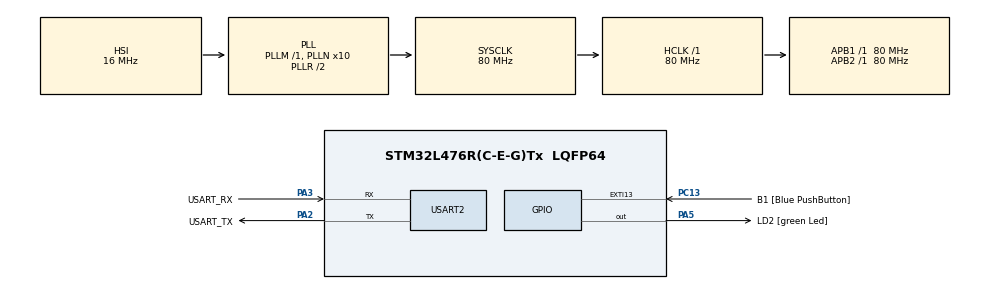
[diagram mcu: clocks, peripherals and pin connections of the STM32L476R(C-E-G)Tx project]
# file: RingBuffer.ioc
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Mcu.Family=STM32L4
Mcu.Name=STM32L476R(C-E-G)Tx
Mcu.Package=LQFP64
NVIC.PriorityGroup=NVIC_PRIORITYGROUP_4
NVIC.USART2_IRQn=true\:0\:0\:false\:false\:true\:true\:true\:true
PA13\ (JTMS-SWDIO).GPIO_Label=TMS
PA13\ (JTMS-SWDIO).Mode=Serial_Wire
PA13\ (JTMS-SWDIO).Signal=SYS_JTMS-SWDIO
PA14\ (JTCK-SWCLK).GPIO_Label=TCK
PA14\ (JTCK-SWCLK).Mode=Serial_Wire
PA14\ (JTCK-SWCLK).Signal=SYS_JTCK-SWCLK
PA2.GPIO_Label=USART_TX
PA2.GPIO_Mode=GPIO_MODE_AF_PP
PA2.GPIO_PuPd=GPIO_NOPULL
PA2.GPIO_Speed=GPIO_SPEED_FREQ_VERY_HIGH
PA2.Mode=Asynchronous
PA2.Signal=USART2_TX
PA3.GPIO_Label=USART_RX
PA3.GPIO_Mode=GPIO_MODE_AF_PP
PA3.GPIO_PuPd=GPIO_NOPULL
PA3.GPIO_Speed=GPIO_SPEED_FREQ_VERY_HIGH
PA3.Mode=Asynchronous
PA3.Signal=USART2_RX
PA5.GPIO_Label=LD2 [green Led]
PA5.GPIO_ModeDefaultOutputPP=GPIO_MODE_OUTPUT_PP
PA5.GPIO_PuPd=GPIO_NOPULL
PA5.GPIO_Speed=GPIO_SPEED_FREQ_LOW
PA5.Signal=GPIO_Output
PB3\ (JTDO-TRACESWO).GPIO_Label=SWO
PB3\ (JTDO-TRACESWO).Signal=SYS_JTDO-SWO
PC13.GPIO_Label=B1 [Blue PushButton]
PC13.GPIO_ModeDefaultEXTI=GPIO_MODE_IT_FALLING
PC13.GPIO_PuPd=GPIO_NOPULL
PC13.Signal=GPXTI13
PC14-OSC32_IN\ (PC14).Mode=LSE-External-Oscillator
PC14-OSC32_IN\ (PC14).Signal=RCC_OSC32_IN
PC15-OSC32_OUT\ (PC15).Mode=LSE-External-Oscillator
PC15-OSC32_OUT\ (PC15).Signal=RCC_OSC32_OUT
PH0-OSC_IN\ (PH0).Signal=RCC_OSC_IN
PH1-OSC_OUT\ (PH1).Signal=RCC_OSC_OUT
ProjectManager.HeapSize=0x200
ProjectManager.StackSize=0x400
ProjectManager.TargetToolchain=STM32CubeIDE
RCC.ADCFreq_Value=64000000
RCC.AHBFreq_Value=80000000
RCC.APB1Freq_Value=80000000
RCC.APB1TimFreq_Value=80000000
RCC.APB2Freq_Value=80000000
RCC.APB2TimFreq_Value=80000000
RCC.CortexFreq_Value=80000000
RCC.HCLKFreq_Value=80000000
RCC.HSE_VALUE=8000000
RCC.HSI_VALUE=16000000
RCC.MSI_VALUE=4000000
RCC.PLLN=10
RCC.PLLSourceVirtual=RCC_PLLSOURCE_HSI
RCC.PREFETCH_ENABLE=1
RCC.SYSCLKFreq_VALUE=80000000
RCC.SYSCLKSource=RCC_SYSCLKSOURCE_PLLCLK
RCC.USBFreq_Value=64000000
RCC.VCOOutputFreq_Value=160000000
USART2.VirtualMode-Asynchronous=VM_ASYNC
board=NUCLEO-L476RG

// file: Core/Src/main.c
/* USER CODE BEGIN Header */
/**
  ******************************************************************************
  * @file           : main.c
  * @brief          : Main program body
  ******************************************************************************
  * @attention
  *
  * Copyright (c) 2022 STMicroelectronics.
  * All rights reserved.
  *
  * This software is licensed under terms that can be found in the LICENSE file
  * in the root directory of this software component.
  * If no LICENSE file comes with this software, it is provided AS-IS.
  *
  ******************************************************************************
  */
/* USER CODE END Header */
#include "main.h"

/* USER CODE BEGIN Includes */
#include <stdio.h>
#include "RingBuffer_ADT.h"
//#include "RingBuffer.h"
/* USER CODE END Includes */

 UART_HandleTypeDef huart2;

void SystemClock_Config(void);
static void MX_GPIO_Init(void);
static void MX_USART2_UART_Init(void);
/* USER CODE BEGIN PFP */
#define PUTCHAR_PROTOTYPE int __io_putchar(int ch)
/* USER CODE END PFP */

int main(void)
{

  /* MCU Configuration--------------------------------------------------------*/

  /* Reset of all peripherals, Initializes the Flash interface and the Systick. */
  HAL_Init();

  /* Configure the system clock */
  SystemClock_Config();

  /* Initialize all configured peripherals */
  MX_GPIO_Init();
  MX_USART2_UART_Init();
  /* USER CODE BEGIN 2 */

  RingBuffer buffer;

  Result res = RingBuffer_ADT_Init(&buffer);

  uint8_t data[6] = {0,1,2,3,4,5};
  res = RingBuffer_ADT_Write(&buffer, data, 6);

  uint8_t data2[4] = {6,7,8,9};
  res = RingBuffer_ADT_Write(&buffer, data2, 4);

    uint8_t dataEmpty[6] = {0};
    RingBuffer_ADT_Read(&buffer, dataEmpty, 6);

      uint8_t data3[4] = {10,11,12,13};
      RingBuffer_ADT_Write(&buffer,data3, 4);
  if (res == IS_OK)
  {
	  //
  }

  /* USER CODE END 2 */

  /* Infinite loop */
  while (1)
  {

    /* USER CODE BEGIN 3 */
      printf("Hello\n\r");
      HAL_Delay(1000);
  }
  /* USER CODE END 3 */
}

void SystemClock_Config(void)
{
  RCC_OscInitTypeDef RCC_OscInitStruct = {0};
  RCC_ClkInitTypeDef RCC_ClkInitStruct = {0};

  /** Configure the main internal regulator output voltage
  */
  if (HAL_PWREx_ControlVoltageScaling(PWR_REGULATOR_VOLTAGE_SCALE1) != HAL_OK)
  {
    Error_Handler();
  }

  /** Initializes the RCC Oscillators according to the specified parameters
  * in the RCC_OscInitTypeDef structure.
  */
  RCC_OscInitStruct.OscillatorType = RCC_OSCILLATORTYPE_HSI;
  RCC_OscInitStruct.HSIState = RCC_HSI_ON;
  RCC_OscInitStruct.HSICalibrationValue = RCC_HSICALIBRATION_DEFAULT;
  RCC_OscInitStruct.PLL.PLLState = RCC_PLL_ON;
  RCC_OscInitStruct.PLL.PLLSource = RCC_PLLSOURCE_HSI;
  RCC_OscInitStruct.PLL.PLLM = 1;
  RCC_OscInitStruct.PLL.PLLN = 10;
  RCC_OscInitStruct.PLL.PLLP = RCC_PLLP_DIV7;
  RCC_OscInitStruct.PLL.PLLQ = RCC_PLLQ_DIV2;
  RCC_OscInitStruct.PLL.PLLR = RCC_PLLR_DIV2;
  if (HAL_RCC_OscConfig(&RCC_OscInitStruct) != HAL_OK)
  {
    Error_Handler();
  }

  /** Initializes the CPU, AHB and APB buses clocks
  */
  RCC_ClkInitStruct.ClockType = RCC_CLOCKTYPE_HCLK|RCC_CLOCKTYPE_SYSCLK
                              |RCC_CLOCKTYPE_PCLK1|RCC_CLOCKTYPE_PCLK2;
  RCC_ClkInitStruct.SYSCLKSource = RCC_SYSCLKSOURCE_PLLCLK;
  RCC_ClkInitStruct.AHBCLKDivider = RCC_SYSCLK_DIV1;
  RCC_ClkInitStruct.APB1CLKDivider = RCC_HCLK_DIV1;
  RCC_ClkInitStruct.APB2CLKDivider = RCC_HCLK_DIV1;

  if (HAL_RCC_ClockConfig(&RCC_ClkInitStruct, FLASH_LATENCY_4) != HAL_OK)
  {
    Error_Handler();
  }
}

static void MX_USART2_UART_Init(void)
{

  huart2.Instance = USART2;
  huart2.Init.BaudRate = 115200;
  huart2.Init.WordLength = UART_WORDLENGTH_8B;
  huart2.Init.StopBits = UART_STOPBITS_1;
  huart2.Init.Parity = UART_PARITY_NONE;
  huart2.Init.Mode = UART_MODE_TX_RX;
  huart2.Init.HwFlowCtl = UART_HWCONTROL_NONE;
  huart2.Init.OverSampling = UART_OVERSAMPLING_16;
  huart2.Init.OneBitSampling = UART_ONE_BIT_SAMPLE_DISABLE;
  huart2.AdvancedInit.AdvFeatureInit = UART_ADVFEATURE_NO_INIT;
  if (HAL_UART_Init(&huart2) != HAL_OK)
  {
    Error_Handler();
  }

}

static void MX_GPIO_Init(void)
{
  GPIO_InitTypeDef GPIO_InitStruct = {0};

  /* GPIO Ports Clock Enable */
  __HAL_RCC_GPIOC_CLK_ENABLE();
  __HAL_RCC_GPIOH_CLK_ENABLE();
  __HAL_RCC_GPIOA_CLK_ENABLE();
  __HAL_RCC_GPIOB_CLK_ENABLE();

  /*Configure GPIO pin Output Level */
  HAL_GPIO_WritePin(LD2_GPIO_Port, LD2_Pin, GPIO_PIN_RESET);

  /*Configure GPIO pin : B1_Pin */
  GPIO_InitStruct.Pin = B1_Pin;
  GPIO_InitStruct.Mode = GPIO_MODE_IT_FALLING;
  GPIO_InitStruct.Pull = GPIO_NOPULL;
  HAL_GPIO_Init(B1_GPIO_Port, &GPIO_InitStruct);

  /*Configure GPIO pin : LD2_Pin */
  GPIO_InitStruct.Pin = LD2_Pin;
  GPIO_InitStruct.Mode = GPIO_MODE_OUTPUT_PP;
  GPIO_InitStruct.Pull = GPIO_NOPULL;
  GPIO_InitStruct.Speed = GPIO_SPEED_FREQ_LOW;
  HAL_GPIO_Init(LD2_GPIO_Port, &GPIO_InitStruct);

}

/* USER CODE BEGIN 4 */

/**
  * @brief  Retargets the C library printf function to the USART.
  * @param  None
  * @retval None
  */
PUTCHAR_PROTOTYPE
{
  /* Place your implementation of fputc here */
  /* e.g. write a character to the USART1 and Loop until the end of transmission */
  HAL_UART_Transmit(&huart2, (uint8_t *)&ch, 1, 0xFFFF);

  return ch;
}

/* USER CODE END 4 */

void Error_Handler(void)
{
  __disable_irq();
  while (1)
  {
  }
}
